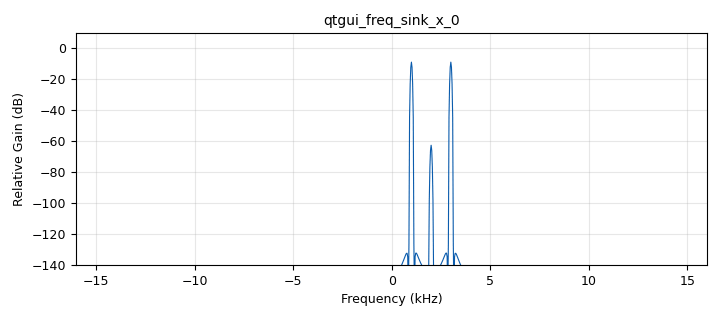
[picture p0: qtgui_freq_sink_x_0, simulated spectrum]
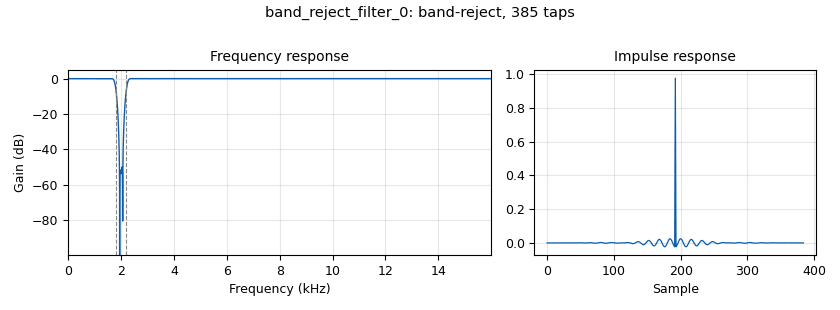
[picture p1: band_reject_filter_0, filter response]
options:
  parameters:
    author: prakhar
    generate_options: qt_gui
    id: test_2
    output_language: python
    title: Not titled yet
  states: {}

blocks:
- name: samp_rate
  id: variable
  parameters:
    value: '32000'
  states: {}
- name: analog_sig_source_x_0
  id: analog_sig_source_x
  parameters:
    amp: '1'
    freq: '1000'
    offset: '0'
    phase: '0'
    samp_rate: samp_rate
    type: complex
    waveform: analog.GR_COS_WAVE
  states: {}
- name: analog_sig_source_x_0_0
  id: analog_sig_source_x
  parameters:
    amp: '1'
    freq: '3000'
    offset: '0'
    phase: '0'
    samp_rate: samp_rate
    type: complex
    waveform: analog.GR_COS_WAVE
  states: {}
- name: analog_sig_source_x_0_0_0
  id: analog_sig_source_x
  parameters:
    amp: '1'
    freq: '2000'
    offset: '0'
    phase: '0'
    samp_rate: samp_rate
    type: complex
    waveform: analog.GR_COS_WAVE
  states: {}
- name: band_reject_filter_0
  id: band_reject_filter
  parameters:
    decim: '1'
    gain: '1'
    high_cutoff_freq: '2200'
    low_cutoff_freq: '1800'
    samp_rate: samp_rate
    type: fir_filter_ccf
    width: '200'
    win: firdes.WIN_HAMMING
  states: {}
- name: blocks_add_xx_0
  id: blocks_add_xx
  parameters:
    num_inputs: '3'
    type: complex
  states: {}
- name: blocks_throttle_0
  id: blocks_throttle
  parameters:
    samples_per_second: samp_rate
    type: complex
  states: {}
- name: qtgui_freq_sink_x_0
  id: qtgui_freq_sink_x
  parameters:
    bw: samp_rate
    fc: '0'
    fftsize: '1024'
    type: complex
    wintype: firdes.WIN_BLACKMAN_hARRIS
  states: {}

connections:
- [analog_sig_source_x_0, '0', blocks_add_xx_0, '1']
- [analog_sig_source_x_0_0, '0', blocks_add_xx_0, '0']
- [analog_sig_source_x_0_0_0, '0', blocks_add_xx_0, '2']
- [band_reject_filter_0, '0', blocks_throttle_0, '0']
- [blocks_add_xx_0, '0', band_reject_filter_0, '0']
- [blocks_throttle_0, '0', qtgui_freq_sink_x_0, '0']

metadata:
  file_format: 1
